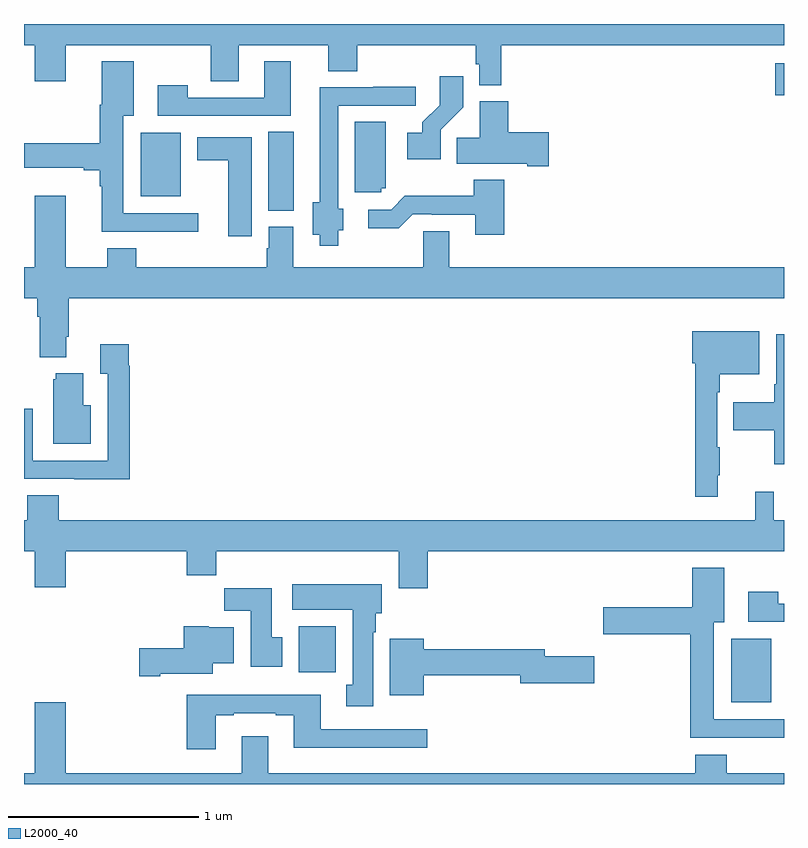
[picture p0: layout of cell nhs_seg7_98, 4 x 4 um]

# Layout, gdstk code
import gdstk
lib = gdstk.Library(unit=1e-6, precision=1e-09)
def R(c, l, rs):  # rectangles x0, y0, x1, y1
    for r in rs: c.add(gdstk.rectangle(r[:2], r[2:], *l))
def P(c, l, *ps):  # polygons
    for p in ps: c.add(gdstk.Polygon(p, *l))
L2000_40 = (2000, 40)

nhs_seg7_98 = lib.new_cell('nhs_seg7_98')
R(nhs_seg7_98, L2000_40, [(120.722,1058.429,120.934,1058.764), (118.445,1058.588,118.642,1058.83), (118.286,1061.017,118.42,1061.432), (117.614,1061.093,117.826,1061.428), (120.954,1061.624,121,1061.794)])
P(nhs_seg7_98, L2000_40, [(119.513,1061.888),(121,1061.888),(121,1062),(117,1062),(117,1061.888),(117.056,1061.888),(117.056,1061.7),(117.22,1061.7),(117.22,1061.888),(117.982,1061.888),(117.982,1061.698),(118.129,1061.698),(118.129,1061.888),(118.601,1061.888),(118.601,1061.752),(118.754,1061.752),(118.754,1061.888),(119.377,1061.888),(119.377,1061.787),(119.397,1061.787),(119.397,1061.678),(119.513,1061.678)],
  [(117.916,1061.004),(117.523,1061.004),(117.523,1061.516),(117.577,1061.516),(117.577,1061.803),(117.41,1061.803),(117.41,1061.576),(117.398,1061.576),(117.398,1061.373),(117,1061.373),(117,1061.243),(117.314,1061.243),(117.314,1061.231),(117.398,1061.231),(117.398,1061.147),(117.41,1061.147),(117.41,1060.907),(117.916,1060.907)],
  [(118.405,1061.803),(118.265,1061.803),(118.265,1061.613),(117.861,1061.613),(117.861,1061.677),(117.705,1061.677),(117.705,1061.517),(118.405,1061.517)],
  [(119.193,1061.443),(119.312,1061.562),(119.312,1061.725),(119.187,1061.725),(119.187,1061.573),(119.096,1061.483),(119.096,1061.428),(119.016,1061.428),(119.016,1061.288),(119.193,1061.288)],
  [(118.654,1060.914),(118.681,1060.914),(118.681,1061.028),(118.653,1061.028),(118.653,1061.571),(119.062,1061.571),(119.062,1061.67),(118.837,1061.67),(118.837,1061.667),(118.556,1061.667),(118.556,1061.063),(118.52,1061.063),(118.52,1060.892),(118.556,1060.892),(118.556,1060.832),(118.654,1060.832)],
  [(119.761,1061.43),(119.549,1061.43),(119.549,1061.593),(119.399,1061.593),(119.399,1061.402),(119.278,1061.402),(119.278,1061.264),(119.648,1061.264),(119.648,1061.252),(119.761,1061.252)],
  [(118.881,1061.136),(118.903,1061.136),(118.903,1061.485),(118.742,1061.485),(118.742,1061.115),(118.881,1061.115)],
  [(118.198,1061.404),(117.911,1061.404),(117.911,1061.282),(118.076,1061.282),(118.076,1060.884),(118.198,1060.884)],
  [(119.528,1061.179),(119.368,1061.179),(119.368,1061.095),(119.005,1061.095),(118.932,1061.022),(118.812,1061.022),(118.812,1060.925),(118.973,1060.925),(119.046,1060.998),(119.146,1060.998),(119.146,1060.995),(119.375,1060.995),(119.375,1060.89),(119.528,1060.89)],
  [(117.223,1060.354),(117.236,1060.354),(117.236,1060.556),(121,1060.556),(121,1060.72),(119.239,1060.72),(119.239,1060.91),(119.1,1060.91),(119.1,1060.72),(118.417,1060.72),(118.417,1060.932),(118.289,1060.932),(118.289,1060.821),(118.277,1060.821),(118.277,1060.72),(117.59,1060.72),(117.59,1060.819),(117.437,1060.819),(117.437,1060.72),(117.22,1060.72),(117.22,1061.095),(117.056,1061.095),(117.056,1060.72),(117,1060.72),(117,1060.556),(117.071,1060.556),(117.071,1060.46),(117.083,1060.46),(117.083,1060.247),(117.223,1060.247)],
  [(120.65,1059.625),(120.661,1059.625),(120.661,1059.773),(120.648,1059.773),(120.648,1060.061),(120.661,1060.061),(120.661,1060.157),(120.871,1060.157),(120.871,1060.384),(120.518,1060.384),(120.518,1060.214),(120.532,1060.214),(120.532,1059.513),(120.65,1059.513)],
  [(121,1060.368),(120.96,1060.368),(120.96,1060.105),(120.948,1060.105),(120.948,1060.009),(120.733,1060.009),(120.733,1059.862),(120.948,1059.862),(120.948,1059.683),(121,1059.683)],
  [(117.557,1060.202),(117.55,1060.202),(117.55,1060.315),(117.401,1060.315),(117.401,1060.159),(117.441,1060.159),(117.441,1059.702),(117.045,1059.702),(117.045,1059.976),(117,1059.976),(117,1059.606),(117.265,1059.606),(117.265,1059.605),(117.557,1059.605)],
  [(117.352,1059.994),(117.313,1059.994),(117.313,1060.162),(117.167,1060.162),(117.167,1060.131),(117.155,1060.131),(117.155,1059.791),(117.352,1059.791)],
  [(119.126,1059.224),(121,1059.224),(121,1059.388),(120.945,1059.388),(120.945,1059.538),(120.848,1059.538),(120.848,1059.388),(117.182,1059.388),(117.182,1059.521),(117.017,1059.521),(117.017,1059.388),(117,1059.388),(117,1059.224),(117.056,1059.224),(117.056,1059.036),(117.22,1059.036),(117.22,1059.224),(117.857,1059.224),(117.857,1059.1),(118.013,1059.1),(118.013,1059.224),(118.973,1059.224),(118.973,1059.03),(119.126,1059.03)],
  [(121,1058.34),(120.631,1058.34),(120.631,1058.852),(120.685,1058.852),(120.685,1059.139),(120.518,1059.139),(120.518,1058.931),(120.048,1058.931),(120.048,1058.789),(120.506,1058.789),(120.506,1058.243),(121,1058.243)],
  [(118.837,1058.798),(118.852,1058.798),(118.852,1058.898),(118.882,1058.898),(118.882,1059.052),(118.413,1059.052),(118.413,1058.918),(118.73,1058.918),(118.73,1058.522),(118.697,1058.522),(118.697,1058.409),(118.837,1058.409)],
  [(118.36,1058.772),(118.303,1058.772),(118.303,1059.031),(118.054,1059.031),(118.054,1058.912),(118.193,1058.912),(118.193,1058.616),(118.36,1058.616)],
  [(121,1058.949),(120.969,1058.949),(120.969,1059.013),(120.813,1059.013),(120.813,1058.853),(121,1058.853)],
  [(117.718,1058.579),(117.994,1058.579),(117.994,1058.636),(118.105,1058.636),(118.105,1058.824),(117.972,1058.824),(117.972,1058.83),(117.842,1058.83),(117.842,1058.714),(117.606,1058.714),(117.606,1058.567),(117.718,1058.567)],
  [(119.104,1058.572),(119.612,1058.572),(119.612,1058.53),(120.001,1058.53),(120.001,1058.672),(119.74,1058.672),(119.74,1058.708),(119.104,1058.708),(119.104,1058.764),(118.925,1058.764),(118.925,1058.468),(119.104,1058.468)],
  [(118.009,1058.361),(118.105,1058.361),(118.105,1058.373),(118.325,1058.373),(118.325,1058.361),(118.421,1058.361),(118.421,1058.192),(119.122,1058.192),(119.122,1058.289),(118.561,1058.289),(118.561,1058.47),(117.857,1058.47),(117.857,1058.184),(118.009,1058.184)],
  [(121,1058.056),(120.698,1058.056),(120.698,1058.155),(120.533,1058.155),(120.533,1058.056),(118.285,1058.056),(118.285,1058.251),(118.145,1058.251),(118.145,1058.056),(117.22,1058.056),(117.22,1058.431),(117.056,1058.431),(117.056,1058.056),(117,1058.056),(117,1058),(121,1058)])

lib.write_gds('nhs_seg7_98.gds')
